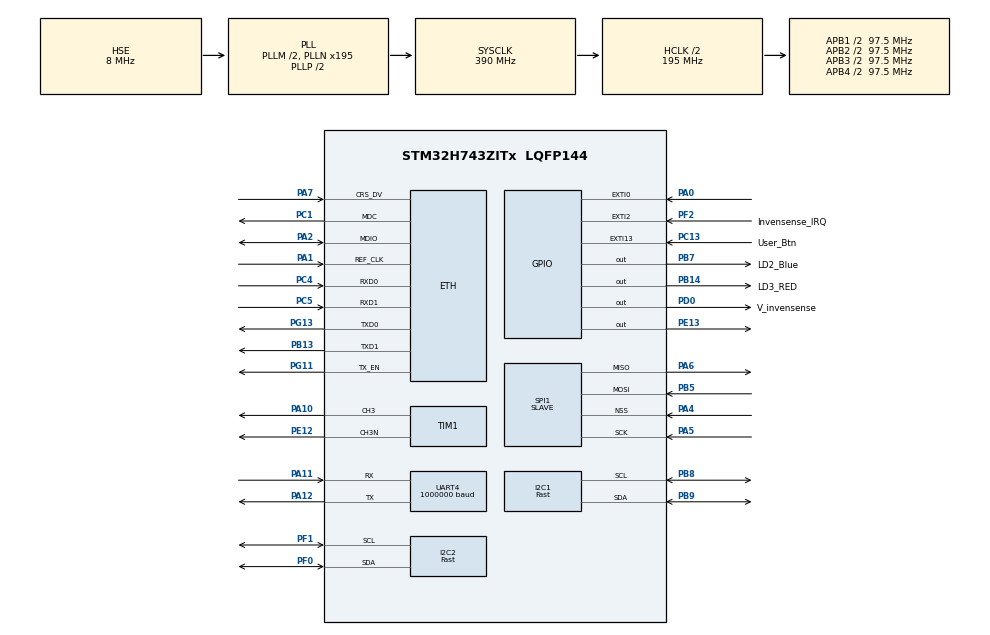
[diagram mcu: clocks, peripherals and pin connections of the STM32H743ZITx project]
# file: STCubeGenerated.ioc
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CORTEX_M7.AccessPermission-Cortex_Memory_Protection_Unit_Region0_Settings=MPU_REGION_FULL_ACCESS
CORTEX_M7.AccessPermission-Cortex_Memory_Protection_Unit_Region1_Settings=MPU_REGION_FULL_ACCESS
CORTEX_M7.BaseAddress-Cortex_Memory_Protection_Unit_Region0_Settings=0x30040000
CORTEX_M7.BaseAddress-Cortex_Memory_Protection_Unit_Region1_Settings=0x30060000
CORTEX_M7.CPU_DCache=Enabled
CORTEX_M7.CPU_ICache=Enabled
CORTEX_M7.Enable-Cortex_Memory_Protection_Unit_Region0_Settings=MPU_REGION_ENABLE
CORTEX_M7.Enable-Cortex_Memory_Protection_Unit_Region1_Settings=MPU_REGION_ENABLE
CORTEX_M7.IsBufferable-Cortex_Memory_Protection_Unit_Region0_Settings=MPU_ACCESS_BUFFERABLE
CORTEX_M7.IsBufferable-Cortex_Memory_Protection_Unit_Region1_Settings=MPU_ACCESS_BUFFERABLE
CORTEX_M7.IsShareable-Cortex_Memory_Protection_Unit_Region0_Settings=MPU_ACCESS_SHAREABLE
CORTEX_M7.IsShareable-Cortex_Memory_Protection_Unit_Region1_Settings=MPU_ACCESS_SHAREABLE
CORTEX_M7.MPU_Control=MPU_PRIVILEGED_DEFAULT
CORTEX_M7.Size-Cortex_Memory_Protection_Unit_Region0_Settings=MPU_REGION_SIZE_256B
CORTEX_M7.Size-Cortex_Memory_Protection_Unit_Region1_Settings=MPU_REGION_SIZE_128KB
Dma.I2C1_RX.2.Direction=DMA_PERIPH_TO_MEMORY
Dma.I2C1_RX.2.EventEnable=DISABLE
Dma.I2C1_RX.2.FIFOMode=DMA_FIFOMODE_DISABLE
Dma.I2C1_RX.2.Instance=DMA2_Stream1
Dma.I2C1_RX.2.MemDataAlignment=DMA_MDATAALIGN_BYTE
Dma.I2C1_RX.2.MemInc=DMA_MINC_ENABLE
Dma.I2C1_RX.2.Mode=DMA_NORMAL
Dma.I2C1_RX.2.PeriphDataAlignment=DMA_PDATAALIGN_BYTE
Dma.I2C1_RX.2.PeriphInc=DMA_PINC_DISABLE
Dma.I2C1_RX.2.Polarity=HAL_DMAMUX_REQ_GEN_RISING
Dma.I2C1_RX.2.Priority=DMA_PRIORITY_MEDIUM
Dma.I2C1_RX.2.RequestNumber=1
Dma.I2C1_RX.2.SignalID=HAL_DMAMUX1_REQ_GEN_EXTI0
Dma.I2C1_RX.2.SyncEnable=DISABLE
Dma.I2C1_RX.2.SyncPolarity=HAL_DMAMUX_SYNC_NO_EVENT
Dma.I2C1_RX.2.SyncRequestNumber=1
Dma.I2C1_RX.2.SyncSignalID=HAL_DMAMUX1_SYNC_EXTI0
Dma.I2C1_TX.3.Direction=DMA_MEMORY_TO_PERIPH
Dma.I2C1_TX.3.EventEnable=DISABLE
Dma.I2C1_TX.3.FIFOMode=DMA_FIFOMODE_DISABLE
Dma.I2C1_TX.3.Instance=DMA2_Stream0
Dma.I2C1_TX.3.MemDataAlignment=DMA_MDATAALIGN_BYTE
Dma.I2C1_TX.3.MemInc=DMA_MINC_ENABLE
Dma.I2C1_TX.3.Mode=DMA_NORMAL
Dma.I2C1_TX.3.PeriphDataAlignment=DMA_PDATAALIGN_BYTE
Dma.I2C1_TX.3.PeriphInc=DMA_PINC_DISABLE
Dma.I2C1_TX.3.Polarity=HAL_DMAMUX_REQ_GEN_RISING
Dma.I2C1_TX.3.Priority=DMA_PRIORITY_MEDIUM
Dma.I2C1_TX.3.RequestNumber=1
Dma.I2C1_TX.3.SignalID=HAL_DMAMUX1_REQ_GEN_EXTI0
Dma.I2C1_TX.3.SyncEnable=DISABLE
Dma.I2C1_TX.3.SyncPolarity=HAL_DMAMUX_SYNC_NO_EVENT
Dma.I2C1_TX.3.SyncRequestNumber=1
Dma.I2C1_TX.3.SyncSignalID=HAL_DMAMUX1_SYNC_EXTI0
Dma.I2C2_RX.5.Direction=DMA_PERIPH_TO_MEMORY
Dma.I2C2_RX.5.EventEnable=DISABLE
Dma.I2C2_RX.5.FIFOMode=DMA_FIFOMODE_DISABLE
Dma.I2C2_RX.5.Instance=DMA1_Stream6
Dma.I2C2_RX.5.MemDataAlignment=DMA_MDATAALIGN_BYTE
Dma.I2C2_RX.5.MemInc=DMA_MINC_ENABLE
Dma.I2C2_RX.5.Mode=DMA_NORMAL
Dma.I2C2_RX.5.PeriphDataAlignment=DMA_PDATAALIGN_BYTE
Dma.I2C2_RX.5.PeriphInc=DMA_PINC_DISABLE
Dma.I2C2_RX.5.Polarity=HAL_DMAMUX_REQ_GEN_RISING
Dma.I2C2_RX.5.Priority=DMA_PRIORITY_MEDIUM
Dma.I2C2_RX.5.RequestNumber=1
Dma.I2C2_RX.5.SignalID=HAL_DMAMUX1_REQ_GEN_EXTI0
Dma.I2C2_RX.5.SyncEnable=DISABLE
Dma.I2C2_RX.5.SyncPolarity=HAL_DMAMUX_SYNC_NO_EVENT
Dma.I2C2_RX.5.SyncRequestNumber=1
Dma.I2C2_RX.5.SyncSignalID=HAL_DMAMUX1_SYNC_EXTI0
Dma.I2C2_TX.6.Direction=DMA_MEMORY_TO_PERIPH
Dma.I2C2_TX.6.EventEnable=DISABLE
Dma.I2C2_TX.6.FIFOMode=DMA_FIFOMODE_DISABLE
Dma.I2C2_TX.6.Instance=DMA1_Stream7
Dma.I2C2_TX.6.MemDataAlignment=DMA_MDATAALIGN_BYTE
Dma.I2C2_TX.6.MemInc=DMA_MINC_ENABLE
Dma.I2C2_TX.6.Mode=DMA_NORMAL
Dma.I2C2_TX.6.PeriphDataAlignment=DMA_PDATAALIGN_BYTE
Dma.I2C2_TX.6.PeriphInc=DMA_PINC_DISABLE
Dma.I2C2_TX.6.Polarity=HAL_DMAMUX_REQ_GEN_RISING
Dma.I2C2_TX.6.Priority=DMA_PRIORITY_MEDIUM
Dma.I2C2_TX.6.RequestNumber=1
Dma.I2C2_TX.6.SignalID=HAL_DMAMUX1_REQ_GEN_EXTI0
Dma.I2C2_TX.6.SyncEnable=DISABLE
Dma.I2C2_TX.6.SyncPolarity=HAL_DMAMUX_SYNC_NO_EVENT
Dma.I2C2_TX.6.SyncRequestNumber=1
Dma.I2C2_TX.6.SyncSignalID=HAL_DMAMUX1_SYNC_EXTI0
Dma.Request0=UART4_RX
Dma.Request1=UART4_TX
Dma.Request2=I2C1_RX
Dma.Request3=I2C1_TX
Dma.Request4=TIM1_CH3
Dma.Request5=I2C2_RX
Dma.Request6=I2C2_TX
Dma.Request7=SPI1_RX
Dma.Request8=SPI1_TX
Dma.SPI1_RX.7.Direction=DMA_PERIPH_TO_MEMORY
Dma.SPI1_RX.7.EventEnable=DISABLE
Dma.SPI1_RX.7.FIFOMode=DMA_FIFOMODE_ENABLE
Dma.SPI1_RX.7.FIFOThreshold=DMA_FIFO_THRESHOLD_FULL
Dma.SPI1_RX.7.Instance=DMA1_Stream2
Dma.SPI1_RX.7.MemBurst=DMA_MBURST_SINGLE
Dma.SPI1_RX.7.MemDataAlignment=DMA_MDATAALIGN_HALFWORD
Dma.SPI1_RX.7.MemInc=DMA_MINC_ENABLE
Dma.SPI1_RX.7.Mode=DMA_NORMAL
Dma.SPI1_RX.7.PeriphBurst=DMA_PBURST_SINGLE
Dma.SPI1_RX.7.PeriphDataAlignment=DMA_PDATAALIGN_HALFWORD
Dma.SPI1_RX.7.PeriphInc=DMA_PINC_DISABLE
Dma.SPI1_RX.7.Polarity=HAL_DMAMUX_REQ_GEN_RISING
Dma.SPI1_RX.7.Priority=DMA_PRIORITY_HIGH
Dma.SPI1_RX.7.RequestNumber=1
Dma.SPI1_RX.7.SignalID=HAL_DMAMUX1_REQ_GEN_EXTI0
Dma.SPI1_RX.7.SyncEnable=DISABLE
Dma.SPI1_RX.7.SyncPolarity=HAL_DMAMUX_SYNC_NO_EVENT
Dma.SPI1_RX.7.SyncRequestNumber=1
Dma.SPI1_RX.7.SyncSignalID=HAL_DMAMUX1_SYNC_EXTI0
Dma.SPI1_TX.8.Direction=DMA_MEMORY_TO_PERIPH
Dma.SPI1_TX.8.EventEnable=DISABLE
Dma.SPI1_TX.8.FIFOMode=DMA_FIFOMODE_ENABLE
Dma.SPI1_TX.8.FIFOThreshold=DMA_FIFO_THRESHOLD_FULL
Dma.SPI1_TX.8.Instance=DMA1_Stream3
Dma.SPI1_TX.8.MemBurst=DMA_MBURST_SINGLE
Dma.SPI1_TX.8.MemDataAlignment=DMA_MDATAALIGN_HALFWORD
Dma.SPI1_TX.8.MemInc=DMA_MINC_ENABLE
Dma.SPI1_TX.8.Mode=DMA_NORMAL
Dma.SPI1_TX.8.PeriphBurst=DMA_PBURST_SINGLE
Dma.SPI1_TX.8.PeriphDataAlignment=DMA_PDATAALIGN_HALFWORD
Dma.SPI1_TX.8.PeriphInc=DMA_PINC_DISABLE
Dma.SPI1_TX.8.Polarity=HAL_DMAMUX_REQ_GEN_RISING
Dma.SPI1_TX.8.Priority=DMA_PRIORITY_HIGH
Dma.SPI1_TX.8.RequestNumber=1
Dma.SPI1_TX.8.SignalID=HAL_DMAMUX1_REQ_GEN_EXTI0
Dma.SPI1_TX.8.SyncEnable=DISABLE
Dma.SPI1_TX.8.SyncPolarity=HAL_DMAMUX_SYNC_NO_EVENT
Dma.SPI1_TX.8.SyncRequestNumber=1
Dma.SPI1_TX.8.SyncSignalID=HAL_DMAMUX1_SYNC_EXTI0
Dma.TIM1_CH3.4.Direction=DMA_MEMORY_TO_PERIPH
Dma.TIM1_CH3.4.EventEnable=DISABLE
Dma.TIM1_CH3.4.FIFOMode=DMA_FIFOMODE_DISABLE
Dma.TIM1_CH3.4.Instance=DMA1_Stream0
Dma.TIM1_CH3.4.MemDataAlignment=DMA_MDATAALIGN_HALFWORD
Dma.TIM1_CH3.4.MemInc=DMA_MINC_ENABLE
Dma.TIM1_CH3.4.Mode=DMA_NORMAL
Dma.TIM1_CH3.4.PeriphDataAlignment=DMA_PDATAALIGN_HALFWORD
Dma.TIM1_CH3.4.PeriphInc=DMA_PINC_DISABLE
Dma.TIM1_CH3.4.Polarity=HAL_DMAMUX_REQ_GEN_RISING
Dma.TIM1_CH3.4.Priority=DMA_PRIORITY_VERY_HIGH
Dma.TIM1_CH3.4.RequestNumber=1
Dma.TIM1_CH3.4.SignalID=HAL_DMAMUX1_REQ_GEN_EXTI0
Dma.TIM1_CH3.4.SyncEnable=DISABLE
Dma.TIM1_CH3.4.SyncPolarity=HAL_DMAMUX_SYNC_NO_EVENT
Dma.TIM1_CH3.4.SyncRequestNumber=1
Dma.TIM1_CH3.4.SyncSignalID=HAL_DMAMUX1_SYNC_EXTI0
Dma.UART4_RX.0.Direction=DMA_PERIPH_TO_MEMORY
Dma.UART4_RX.0.EventEnable=DISABLE
Dma.UART4_RX.0.FIFOMode=DMA_FIFOMODE_DISABLE
Dma.UART4_RX.0.Instance=DMA1_Stream4
Dma.UART4_RX.0.MemDataAlignment=DMA_MDATAALIGN_BYTE
Dma.UART4_RX.0.MemInc=DMA_MINC_ENABLE
Dma.UART4_RX.0.Mode=DMA_NORMAL
Dma.UART4_RX.0.PeriphDataAlignment=DMA_PDATAALIGN_BYTE
Dma.UART4_RX.0.PeriphInc=DMA_PINC_DISABLE
Dma.UART4_RX.0.Polarity=HAL_DMAMUX_REQ_GEN_RISING
Dma.UART4_RX.0.Priority=DMA_PRIORITY_MEDIUM
Dma.UART4_RX.0.RequestNumber=1
Dma.UART4_RX.0.SignalID=HAL_DMAMUX1_REQ_GEN_EXTI0
Dma.UART4_RX.0.SyncEnable=DISABLE
Dma.UART4_RX.0.SyncPolarity=HAL_DMAMUX_SYNC_NO_EVENT
Dma.UART4_RX.0.SyncRequestNumber=1
Dma.UART4_RX.0.SyncSignalID=HAL_DMAMUX1_SYNC_EXTI0
Dma.UART4_TX.1.Direction=DMA_MEMORY_TO_PERIPH
Dma.UART4_TX.1.EventEnable=DISABLE
Dma.UART4_TX.1.FIFOMode=DMA_FIFOMODE_DISABLE
Dma.UART4_TX.1.Instance=DMA1_Stream5
Dma.UART4_TX.1.MemDataAlignment=DMA_MDATAALIGN_BYTE
Dma.UART4_TX.1.MemInc=DMA_MINC_ENABLE
Dma.UART4_TX.1.Mode=DMA_NORMAL
Dma.UART4_TX.1.PeriphDataAlignment=DMA_PDATAALIGN_BYTE
Dma.UART4_TX.1.PeriphInc=DMA_PINC_DISABLE
Dma.UART4_TX.1.Polarity=HAL_DMAMUX_REQ_GEN_RISING
Dma.UART4_TX.1.Priority=DMA_PRIORITY_MEDIUM
Dma.UART4_TX.1.RequestNumber=1
Dma.UART4_TX.1.SignalID=HAL_DMAMUX1_REQ_GEN_EXTI0
Dma.UART4_TX.1.SyncEnable=DISABLE
Dma.UART4_TX.1.SyncPolarity=HAL_DMAMUX_SYNC_NO_EVENT
Dma.UART4_TX.1.SyncRequestNumber=1
Dma.UART4_TX.1.SyncSignalID=HAL_DMAMUX1_SYNC_EXTI0
ETH.MediaInterface=HAL_ETH_RMII_MODE
I2C1.I2C_Speed_Mode=I2C_Fast
I2C1.Timing=0x009033B1
I2C2.I2C_Speed_Mode=I2C_Fast
I2C2.Timing=0x009033B1
Mcu.Family=STM32H7
Mcu.Name=STM32H743ZITx
Mcu.Package=LQFP144
NVIC.DMA1_Stream0_IRQn=true\:0\:0\:true\:false\:true\:false
NVIC.DMA1_Stream2_IRQn=true\:0\:0\:true\:false\:true\:false
NVIC.DMA1_Stream3_IRQn=true\:0\:0\:true\:false\:true\:false
NVIC.DMA1_Stream4_IRQn=true\:0\:0\:true\:false\:true\:false
NVIC.DMA1_Stream5_IRQn=true\:0\:0\:true\:false\:true\:false
NVIC.DMA1_Stream6_IRQn=true\:0\:0\:true\:false\:true\:false
NVIC.DMA1_Stream7_IRQn=true\:2\:0\:true\:false\:true\:false
NVIC.DMA2_Stream0_IRQn=true\:1\:0\:true\:false\:true\:false
NVIC.DMA2_Stream1_IRQn=true\:1\:0\:true\:false\:true\:false
NVIC.ETH_IRQn=true\:3\:0\:true\:false\:true\:true
NVIC.ETH_WKUP_IRQn=true\:3\:0\:true\:false\:true\:true
NVIC.EXTI0_IRQn=true\:0\:0\:false\:false\:false\:true
NVIC.I2C1_ER_IRQn=true\:2\:0\:true\:false\:true\:true
NVIC.I2C1_EV_IRQn=true\:2\:0\:true\:false\:true\:true
NVIC.I2C2_ER_IRQn=true\:2\:0\:true\:false\:true\:true
NVIC.I2C2_EV_IRQn=true\:2\:0\:true\:false\:true\:true
NVIC.PriorityGroup=NVIC_PRIORITYGROUP_4
NVIC.SPI1_IRQn=true\:2\:0\:true\:false\:true\:true
NVIC.TIM1_BRK_IRQn=true\:2\:0\:true\:false\:true\:true
NVIC.TIM1_CC_IRQn=true\:2\:0\:true\:false\:true\:true
NVIC.TIM1_TRG_COM_IRQn=true\:2\:0\:true\:false\:true\:true
NVIC.TIM1_UP_IRQn=true\:2\:0\:true\:false\:true\:true
NVIC.TIM8_UP_TIM13_IRQn=true\:2\:0\:true\:false\:true\:false
NVIC.TimeBase=TIM8_UP_TIM13_IRQn
NVIC.TimeBaseIP=TIM8
NVIC.UART4_IRQn=true\:2\:0\:true\:false\:true\:true
PA0-WKUP.GPIO_ModeDefaultEXTI=GPIO_MODE_IT_RISING_FALLING
PA0-WKUP.GPIO_PuPd=GPIO_PULLDOWN
PA0-WKUP.Signal=GPXTI0
PA1.GPIO_Speed=GPIO_SPEED_FREQ_VERY_HIGH
PA1.Mode=RMII
PA1.Signal=ETH_REF_CLK
PA10.GPIO_Speed=GPIO_SPEED_FREQ_VERY_HIGH
PA10.Signal=S_TIM1_CH3
PA11.GPIO_Speed=GPIO_SPEED_FREQ_VERY_HIGH
PA11.Mode=Asynchronous
PA11.Signal=UART4_RX
PA12.GPIO_Speed=GPIO_SPEED_FREQ_VERY_HIGH
PA12.Mode=Asynchronous
PA12.Signal=UART4_TX
PA13.Mode=Trace_Asynchronous_SW
PA13.Signal=SYS_JTMS-SWDIO
PA14.Mode=Trace_Asynchronous_SW
PA14.Signal=SYS_JTCK-SWCLK
PA2.GPIO_Speed=GPIO_SPEED_FREQ_VERY_HIGH
PA2.Mode=RMII
PA2.Signal=ETH_MDIO
PA4.GPIO_Speed=GPIO_SPEED_FREQ_VERY_HIGH
PA4.Mode=NSS_Signal_Hard_Input
PA4.Signal=SPI1_NSS
PA5.GPIO_Speed=GPIO_SPEED_FREQ_VERY_HIGH
PA5.Mode=Full_Duplex_Slave
PA5.Signal=SPI1_SCK
PA6.GPIO_Speed=GPIO_SPEED_FREQ_VERY_HIGH
PA6.Mode=Full_Duplex_Slave
PA6.Signal=SPI1_MISO
PA7.GPIO_Speed=GPIO_SPEED_FREQ_VERY_HIGH
PA7.Mode=RMII
PA7.Signal=ETH_CRS_DV
PB13.GPIO_Speed=GPIO_SPEED_FREQ_VERY_HIGH
PB13.Mode=RMII
PB13.Signal=ETH_TXD1
PB14.GPIO_Label=LD3_RED
PB14.GPIO_Speed=GPIO_SPEED_FREQ_VERY_HIGH
PB14.Signal=GPIO_Output
PB3.Mode=Trace_Asynchronous_SW
PB3.Signal=SYS_JTDO-SWO
PB5.GPIO_Speed=GPIO_SPEED_FREQ_VERY_HIGH
PB5.Mode=Full_Duplex_Slave
PB5.Signal=SPI1_MOSI
PB7.GPIO_Label=LD2_Blue
PB7.GPIO_Speed=GPIO_SPEED_FREQ_VERY_HIGH
PB7.Signal=GPIO_Output
PB8.Mode=I2C
PB8.Signal=I2C1_SCL
PB9.Mode=I2C
PB9.Signal=I2C1_SDA
PC1.Mode=RMII
PC1.Signal=ETH_MDC
PC13.GPIO_Label=User_Btn
PC13.Signal=GPXTI13
PC4.GPIO_Speed=GPIO_SPEED_FREQ_VERY_HIGH
PC4.Mode=RMII
PC4.Signal=ETH_RXD0
PC5.GPIO_Speed=GPIO_SPEED_FREQ_VERY_HIGH
PC5.Mode=RMII
PC5.Signal=ETH_RXD1
PD0.GPIO_Label=V_invensense
PD0.Signal=GPIO_Output
PE12.GPIO_Speed=GPIO_SPEED_FREQ_VERY_HIGH
PE12.Mode=PWM Generation3 CH3 CH3N
PE12.Signal=TIM1_CH3N
PE13.Signal=GPIO_Output
PF0.GPIO_Speed=GPIO_SPEED_FREQ_VERY_HIGH
PF0.Mode=I2C
PF0.Signal=I2C2_SDA
PF1.GPIO_Speed=GPIO_SPEED_FREQ_VERY_HIGH
PF1.Mode=I2C
PF1.Signal=I2C2_SCL
PF2.GPIO_Label=Invensense_IRQ
PF2.Signal=GPXTI2
PG11.GPIO_Speed=GPIO_SPEED_FREQ_VERY_HIGH
PG11.Mode=RMII
PG11.Signal=ETH_TX_EN
PG13.GPIO_Speed=GPIO_SPEED_FREQ_VERY_HIGH
PG13.Mode=RMII
PG13.Signal=ETH_TXD0
PH0-OSC_IN.Mode=HSE-External-Clock-Source
PH0-OSC_IN.Signal=RCC_OSC_IN
PH1-OSC_OUT.Mode=HSE-External-Clock-Source
PH1-OSC_OUT.Signal=RCC_OSC_OUT
ProjectManager.HeapSize=0x200
ProjectManager.StackSize=0x400
ProjectManager.TargetToolchain=MDK-ARM V5
RCC.ADCFreq_Value=380000000
RCC.APB1Freq_Value=97500000
RCC.APB2Freq_Value=97500000
RCC.APB3Freq_Value=97500000
RCC.APB4Freq_Value=97500000
RCC.CortexFreq_Value=390000000
RCC.D1PPRE=RCC_APB3_DIV2
RCC.D2PPRE1=RCC_APB1_DIV2
RCC.D2PPRE2=RCC_APB2_DIV2
RCC.D3PPRE=RCC_APB4_DIV2
RCC.DIVM1=2
RCC.DIVM2=2
RCC.DIVN1=195
RCC.DIVN2=190
RCC.FLatency=FLASH_LATENCY_2
RCC.HCLKFreq_Value=195000000
RCC.HPRE=RCC_HCLK_DIV2
RCC.HSE_VALUE=8000000
RCC.PLLSourceVirtual=RCC_PLLSOURCE_HSE
RCC.RCC_RTC_Clock_Source_FROM_HSE=RCC_RTCCLKSOURCE_HSE_DIV8
RCC.RTCClockSelection=RCC_RTCCLKSOURCE_HSE_DIV8
RCC.SPI123CLockSelection=RCC_SPI123CLKSOURCE_PLL2
RCC.SYSCLKFreq_VALUE=390000000
RCC.SYSCLKSource=RCC_SYSCLKSOURCE_PLLCLK
RCC.USBFreq_Value=390000000
RCC.VDD_VALUE=3.3
RTC.AsynchPrediv=99
RTC.HourFormat=RTC_HOURFORMAT_24
RTC.StoreOperation=RTC_STOREOPERATION_SET
RTC.SynchPrediv=9999
SH.S_TIM1_CH3.0=TIM1_CH3,PWM Generation3 CH3 CH3N
SPI1.DataSize=SPI_DATASIZE_16BIT
SPI1.Direction=SPI_DIRECTION_2LINES
SPI1.Mode=SPI_MODE_SLAVE
SPI1.VirtualNSS=VM_NSSHARD
SPI1.VirtualType=VM_SLAVE
TIM1.AutomaticOutput=TIM_AUTOMATICOUTPUT_ENABLE
TIM1.Channel-PWM\ Generation3\ CH3\ CH3N=TIM_CHANNEL_3
TIM1.DeadTime=3
UART4.BaudRate=1000000
UART4.FIFOMode=FIFOMODE_ENABLE
UART4.OverSampling=UART_OVERSAMPLING_16
UART4.SwapParam=UART_ADVFEATURE_SWAP_ENABLE
UART4.WordLength=WORDLENGTH_8B
VP_RTC_VS_RTC_Activate.Mode=RTC_Enabled
VP_RTC_VS_RTC_Calendar.Mode=RTC_Calendar
VP_SYS_VS_tim8.Mode=TIM8
board=STCubeGenerated

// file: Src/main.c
/**
  ******************************************************************************
  * @file           : main.c
  * @brief          : Main program body
  ******************************************************************************
  ** This notice applies to any and all portions of this file
  * that are not between comment pairs USER CODE BEGIN and
  * USER CODE END. Other portions of this file, whether
  * inserted by the user or by software development tools
  * are owned by their respective copyright owners.
  *
  * COPYRIGHT(c) 2018 STMicroelectronics
  *
  * Redistribution and use in source and binary forms, with or without modification,
  * are permitted provided that the following conditions are met:
  *   1. Redistributions of source code must retain the above copyright notice,
  *      this list of conditions and the following disclaimer.
  *   2. Redistributions in binary form must reproduce the above copyright notice,
  *      this list of conditions and the following disclaimer in the documentation
  *      and/or other materials provided with the distribution.
  *   3. Neither the name of STMicroelectronics nor the names of its contributors
  *      may be used to endorse or promote products derived from this software
  *      without specific prior written permission.
  *
  * THIS SOFTWARE IS PROVIDED BY THE COPYRIGHT HOLDERS AND CONTRIBUTORS "AS IS"
  * AND ANY EXPRESS OR IMPLIED WARRANTIES, INCLUDING, BUT NOT LIMITED TO, THE
  * IMPLIED WARRANTIES OF MERCHANTABILITY AND FITNESS FOR A PARTICULAR PURPOSE ARE
  * DISCLAIMED. IN NO EVENT SHALL THE COPYRIGHT HOLDER OR CONTRIBUTORS BE LIABLE
  * FOR ANY DIRECT, INDIRECT, INCIDENTAL, SPECIAL, EXEMPLARY, OR CONSEQUENTIAL
  * DAMAGES (INCLUDING, BUT NOT LIMITED TO, PROCUREMENT OF SUBSTITUTE GOODS OR
  * SERVICES; LOSS OF USE, DATA, OR PROFITS; OR BUSINESS INTERRUPTION) HOWEVER
  * CAUSED AND ON ANY THEORY OF LIABILITY, WHETHER IN CONTRACT, STRICT LIABILITY,
  * OR TORT (INCLUDING NEGLIGENCE OR OTHERWISE) ARISING IN ANY WAY OUT OF THE USE
  * OF THIS SOFTWARE, EVEN IF ADVISED OF THE POSSIBILITY OF SUCH DAMAGE.
  *
  ******************************************************************************
  */
#include "main.h"
#include "stm32h7xx_hal.h"
#include "string.h"

/* USER CODE BEGIN Includes */
#include "cmsis_os2.h"                  // ::CMSIS:RTOS2

/* USER CODE END Includes */

#if defined ( __ICCARM__ ) /*!< IAR Compiler */

#pragma location=0x30040000
ETH_DMADescTypeDef  DMARxDscrTab[ETH_RX_DESC_CNT]; /* Ethernet Rx DMA Descriptors */
#pragma location=0x30040060
ETH_DMADescTypeDef  DMATxDscrTab[ETH_TX_DESC_CNT]; /* Ethernet Tx DMA Descriptors */
#pragma location=0x30040200
uint8_t Rx_Buff[ETH_RX_DESC_CNT][ETH_MAX_PACKET_SIZE]; /* Ethernet Receive Buffers */

#elif defined ( __CC_ARM )  /* MDK ARM Compiler */

__attribute__((at(0x30040000))) ETH_DMADescTypeDef  DMARxDscrTab[ETH_RX_DESC_CNT]; /* Ethernet Rx DMA Descriptors */
__attribute__((at(0x30040060))) ETH_DMADescTypeDef  DMATxDscrTab[ETH_TX_DESC_CNT]; /* Ethernet Tx DMA Descriptors */
__attribute__((at(0x30040200))) uint8_t Rx_Buff[ETH_RX_DESC_CNT][ETH_MAX_PACKET_SIZE]; /* Ethernet Receive Buffer */

#elif defined ( __GNUC__ ) /* GNU Compiler */

ETH_DMADescTypeDef DMARxDscrTab[ETH_RX_DESC_CNT] __attribute__((section(".RxDecripSection"))); /* Ethernet Rx DMA Descriptors */
ETH_DMADescTypeDef DMATxDscrTab[ETH_TX_DESC_CNT] __attribute__((section(".TxDecripSection")));   /* Ethernet Tx DMA Descriptors */
uint8_t Rx_Buff[ETH_RX_DESC_CNT][ETH_MAX_PACKET_SIZE] __attribute__((section(".RxArraySection"))); /* Ethernet Receive Buffers */

#endif

ETH_TxPacketConfig TxConfig;

ETH_HandleTypeDef heth;

I2C_HandleTypeDef hi2c1;
I2C_HandleTypeDef hi2c2;
DMA_HandleTypeDef hdma_i2c1_rx;
DMA_HandleTypeDef hdma_i2c1_tx;
DMA_HandleTypeDef hdma_i2c2_rx;
DMA_HandleTypeDef hdma_i2c2_tx;

RTC_HandleTypeDef hrtc;

SPI_HandleTypeDef hspi1;
DMA_HandleTypeDef hdma_spi1_rx;
DMA_HandleTypeDef hdma_spi1_tx;

TIM_HandleTypeDef htim1;
DMA_HandleTypeDef hdma_tim1_ch3;

UART_HandleTypeDef huart4;
DMA_HandleTypeDef hdma_uart4_rx;
DMA_HandleTypeDef hdma_uart4_tx;

/* USER CODE BEGIN PV */
#if defined ( __ARMCC_VERSION)  /* MDK ARM Compiler */
ETH_DMADescTypeDef  DMARxDscrTab[ETH_RX_DESC_CNT] 		__attribute__((section(".ARM.__at_0x30040000"))); /* Ethernet Rx DMA Descriptors */
ETH_DMADescTypeDef  DMATxDscrTab[ETH_TX_DESC_CNT] 		__attribute__((section(".ARM.__at_0x30040060"))); /* Ethernet Tx DMA Descriptors */
uint8_t Rx_Buff[ETH_RX_DESC_CNT][ETH_MAX_PACKET_SIZE] __attribute__((section(".ARM.__at_0x30040200"))) ; /* Ethernet Receive Buffer */
#endif

/* Private variables ---------------------------------------------------------*/
extern osThreadId_t tid_Thread;                                      // thread id
void Thread (void *argument);                                 // thread function
/* USER CODE END PV */

void SystemClock_Config(void);
static void MPU_Config(void);
static void MX_GPIO_Init(void);
static void MX_DMA_Init(void);
static void MX_ETH_Init(void);
static void MX_SPI1_Init(void);
static void MX_UART4_Init(void);
static void MX_I2C2_Init(void);
static void MX_TIM1_Init(void);
static void MX_I2C1_Init(void);
static void MX_RTC_Init(void);

void HAL_TIM_MspPostInit(TIM_HandleTypeDef *htim);

/* USER CODE BEGIN PFP */
/* Private function prototypes -----------------------------------------------*/

/* USER CODE END PFP */

int main(void)
{
  /* USER CODE BEGIN 1 */
	osThreadAttr_t worker_attr;
  /* USER CODE END 1 */

  /* MPU Configuration----------------------------------------------------------*/
  MPU_Config();

  /* Enable I-Cache-------------------------------------------------------------*/
  SCB_EnableICache();

  /* Enable D-Cache-------------------------------------------------------------*/
  SCB_EnableDCache();

  /* MCU Configuration----------------------------------------------------------*/

  /* Reset of all peripherals, Initializes the Flash interface and the Systick. */
  HAL_Init();

  /* USER CODE BEGIN Init */
    SCB_DisableDCache();
  /* USER CODE END Init */

  /* Configure the system clock */
  SystemClock_Config();

  /* USER CODE BEGIN SysInit */
    osKernelInitialize();
	memset(&worker_attr, 0, sizeof(worker_attr));
    worker_attr.stack_size = 2000;
	tid_Thread = osThreadNew (Thread, NULL, &worker_attr);
  /* USER CODE END SysInit */

  /* Initialize all configured peripherals */
  MX_GPIO_Init();
  MX_DMA_Init();
  MX_ETH_Init();
  MX_SPI1_Init();
  MX_UART4_Init();
  MX_I2C2_Init();
  MX_TIM1_Init();
  MX_I2C1_Init();
  MX_RTC_Init();
  /* USER CODE BEGIN 2 */

  if (osKernelGetState() == osKernelReady){
    osKernelStart();
  }
  /* USER CODE END 2 */

  /* Infinite loop */
  while (1)
  {

  }

}

void SystemClock_Config(void)
{

  RCC_OscInitTypeDef RCC_OscInitStruct;
  RCC_ClkInitTypeDef RCC_ClkInitStruct;
  RCC_PeriphCLKInitTypeDef PeriphClkInitStruct;

    /**Supply configuration update enable
    */
  MODIFY_REG(PWR->CR3, PWR_CR3_SCUEN, 0);

    /**Configure the main internal regulator output voltage
    */
  __HAL_PWR_VOLTAGESCALING_CONFIG(PWR_REGULATOR_VOLTAGE_SCALE1);

  while ((PWR->D3CR & (PWR_D3CR_VOSRDY)) != PWR_D3CR_VOSRDY)
  {

  }
    /**Macro to configure the PLL clock source
    */
  __HAL_RCC_PLL_PLLSOURCE_CONFIG(RCC_PLLSOURCE_HSE);

    /**Initializes the CPU, AHB and APB busses clocks
    */
  RCC_OscInitStruct.OscillatorType = RCC_OSCILLATORTYPE_HSE;
  RCC_OscInitStruct.HSEState = RCC_HSE_BYPASS;
  RCC_OscInitStruct.PLL.PLLState = RCC_PLL_ON;
  RCC_OscInitStruct.PLL.PLLSource = RCC_PLLSOURCE_HSE;
  RCC_OscInitStruct.PLL.PLLM = 2;
  RCC_OscInitStruct.PLL.PLLN = 195;
  RCC_OscInitStruct.PLL.PLLP = 2;
  RCC_OscInitStruct.PLL.PLLQ = 2;
  RCC_OscInitStruct.PLL.PLLR = 2;
  RCC_OscInitStruct.PLL.PLLRGE = RCC_PLL1VCIRANGE_2;
  RCC_OscInitStruct.PLL.PLLVCOSEL = RCC_PLL1VCOWIDE;
  RCC_OscInitStruct.PLL.PLLFRACN = 0;
  if (HAL_RCC_OscConfig(&RCC_OscInitStruct) != HAL_OK)
  {
    _Error_Handler(__FILE__, __LINE__);
  }

    /**Initializes the CPU, AHB and APB busses clocks
    */
  RCC_ClkInitStruct.ClockType = RCC_CLOCKTYPE_HCLK|RCC_CLOCKTYPE_SYSCLK
                              |RCC_CLOCKTYPE_PCLK1|RCC_CLOCKTYPE_PCLK2
                              |RCC_CLOCKTYPE_D3PCLK1|RCC_CLOCKTYPE_D1PCLK1;
  RCC_ClkInitStruct.SYSCLKSource = RCC_SYSCLKSOURCE_PLLCLK;
  RCC_ClkInitStruct.SYSCLKDivider = RCC_SYSCLK_DIV1;
  RCC_ClkInitStruct.AHBCLKDivider = RCC_HCLK_DIV2;
  RCC_ClkInitStruct.APB3CLKDivider = RCC_APB3_DIV2;
  RCC_ClkInitStruct.APB1CLKDivider = RCC_APB1_DIV2;
  RCC_ClkInitStruct.APB2CLKDivider = RCC_APB2_DIV2;
  RCC_ClkInitStruct.APB4CLKDivider = RCC_APB4_DIV2;

  if (HAL_RCC_ClockConfig(&RCC_ClkInitStruct, FLASH_LATENCY_2) != HAL_OK)
  {
    _Error_Handler(__FILE__, __LINE__);
  }

  PeriphClkInitStruct.PeriphClockSelection = RCC_PERIPHCLK_RTC|RCC_PERIPHCLK_UART4
                              |RCC_PERIPHCLK_SPI1|RCC_PERIPHCLK_I2C2
                              |RCC_PERIPHCLK_I2C1;
  PeriphClkInitStruct.PLL2.PLL2M = 2;
  PeriphClkInitStruct.PLL2.PLL2N = 190;
  PeriphClkInitStruct.PLL2.PLL2P = 2;
  PeriphClkInitStruct.PLL2.PLL2Q = 2;
  PeriphClkInitStruct.PLL2.PLL2R = 2;
  PeriphClkInitStruct.PLL2.PLL2RGE = RCC_PLL2VCIRANGE_2;
  PeriphClkInitStruct.PLL2.PLL2VCOSEL = RCC_PLL2VCOWIDE;
  PeriphClkInitStruct.PLL2.PLL2FRACN = 0;
  PeriphClkInitStruct.Spi123ClockSelection = RCC_SPI123CLKSOURCE_PLL2;
  PeriphClkInitStruct.Usart234578ClockSelection = RCC_USART234578CLKSOURCE_D2PCLK1;
  PeriphClkInitStruct.I2c123ClockSelection = RCC_I2C123CLKSOURCE_D2PCLK1;
  PeriphClkInitStruct.RTCClockSelection = RCC_RTCCLKSOURCE_HSE_DIV8;
  if (HAL_RCCEx_PeriphCLKConfig(&PeriphClkInitStruct) != HAL_OK)
  {
    _Error_Handler(__FILE__, __LINE__);
  }

    /**Configure the Systick interrupt time
    */
  HAL_SYSTICK_Config(SystemCoreClock/1000);

    /**Configure the Systick
    */
  HAL_SYSTICK_CLKSourceConfig(SYSTICK_CLKSOURCE_HCLK);

  /* SysTick_IRQn interrupt configuration */
  HAL_NVIC_SetPriority(SysTick_IRQn, 15, 0);
}

/* ETH init function */
static void MX_ETH_Init(void)
{

   uint8_t MACAddr[6] ;

  heth.Instance = ETH;
  MACAddr[0] = 0x00;
  MACAddr[1] = 0x80;
  MACAddr[2] = 0xE1;
  MACAddr[3] = 0x00;
  MACAddr[4] = 0x00;
  MACAddr[5] = 0x00;
  heth.Init.MACAddr = &MACAddr[0];
  heth.Init.MediaInterface = HAL_ETH_RMII_MODE;
  heth.Init.TxDesc = DMATxDscrTab;
  heth.Init.RxDesc = DMARxDscrTab;
  heth.Init.RxBuffLen = 1524;

  if (HAL_ETH_Init(&heth) != HAL_OK)
  {
    _Error_Handler(__FILE__, __LINE__);
  }

  memset(&TxConfig, 0 , sizeof(ETH_TxPacketConfig));
  TxConfig.Attributes = ETH_TX_PACKETS_FEATURES_CSUM | ETH_TX_PACKETS_FEATURES_CRCPAD;
  TxConfig.ChecksumCtrl = ETH_CHECKSUM_IPHDR_PAYLOAD_INSERT_PHDR_CALC;
  TxConfig.CRCPadCtrl = ETH_CRC_PAD_INSERT;

}

/* I2C1 init function */
static void MX_I2C1_Init(void)
{

  hi2c1.Instance = I2C1;
  hi2c1.Init.Timing = 0x009033B1;
  hi2c1.Init.OwnAddress1 = 0;
  hi2c1.Init.AddressingMode = I2C_ADDRESSINGMODE_7BIT;
  hi2c1.Init.DualAddressMode = I2C_DUALADDRESS_DISABLE;
  hi2c1.Init.OwnAddress2 = 0;
  hi2c1.Init.OwnAddress2Masks = I2C_OA2_NOMASK;
  hi2c1.Init.GeneralCallMode = I2C_GENERALCALL_DISABLE;
  hi2c1.Init.NoStretchMode = I2C_NOSTRETCH_DISABLE;
  if (HAL_I2C_Init(&hi2c1) != HAL_OK)
  {
    _Error_Handler(__FILE__, __LINE__);
  }

    /**Configure Analogue filter
    */
  if (HAL_I2CEx_ConfigAnalogFilter(&hi2c1, I2C_ANALOGFILTER_ENABLE) != HAL_OK)
  {
    _Error_Handler(__FILE__, __LINE__);
  }

    /**Configure Digital filter
    */
  if (HAL_I2CEx_ConfigDigitalFilter(&hi2c1, 0) != HAL_OK)
  {
    _Error_Handler(__FILE__, __LINE__);
  }

}

/* I2C2 init function */
static void MX_I2C2_Init(void)
{

  hi2c2.Instance = I2C2;
  hi2c2.Init.Timing = 0x009033B1;
  hi2c2.Init.OwnAddress1 = 0;
  hi2c2.Init.AddressingMode = I2C_ADDRESSINGMODE_7BIT;
  hi2c2.Init.DualAddressMode = I2C_DUALADDRESS_DISABLE;
  hi2c2.Init.OwnAddress2 = 0;
  hi2c2.Init.OwnAddress2Masks = I2C_OA2_NOMASK;
  hi2c2.Init.GeneralCallMode = I2C_GENERALCALL_DISABLE;
  hi2c2.Init.NoStretchMode = I2C_NOSTRETCH_DISABLE;
  if (HAL_I2C_Init(&hi2c2) != HAL_OK)
  {
    _Error_Handler(__FILE__, __LINE__);
  }

    /**Configure Analogue filter
    */
  if (HAL_I2CEx_ConfigAnalogFilter(&hi2c2, I2C_ANALOGFILTER_ENABLE) != HAL_OK)
  {
    _Error_Handler(__FILE__, __LINE__);
  }

    /**Configure Digital filter
    */
  if (HAL_I2CEx_ConfigDigitalFilter(&hi2c2, 0) != HAL_OK)
  {
    _Error_Handler(__FILE__, __LINE__);
  }

}

/* RTC init function */
static void MX_RTC_Init(void)
{

  RTC_TimeTypeDef sTime;
  RTC_DateTypeDef sDate;

    /**Initialize RTC Only
    */
  hrtc.Instance = RTC;
  hrtc.Init.HourFormat = RTC_HOURFORMAT_24;
  hrtc.Init.AsynchPrediv = 99;
  hrtc.Init.SynchPrediv = 9999;
  hrtc.Init.OutPut = RTC_OUTPUT_DISABLE;
  hrtc.Init.OutPutPolarity = RTC_OUTPUT_POLARITY_HIGH;
  hrtc.Init.OutPutType = RTC_OUTPUT_TYPE_OPENDRAIN;
  hrtc.Init.OutPutRemap = RTC_OUTPUT_REMAP_NONE;
  if (HAL_RTC_Init(&hrtc) != HAL_OK)
  {
    _Error_Handler(__FILE__, __LINE__);
  }

    /**Initialize RTC and set the Time and Date
    */
  sTime.Hours = 0x0;
  sTime.Minutes = 0x0;
  sTime.Seconds = 0x0;
  sTime.DayLightSaving = RTC_DAYLIGHTSAVING_NONE;
  sTime.StoreOperation = RTC_STOREOPERATION_SET;
  if (HAL_RTC_SetTime(&hrtc, &sTime, RTC_FORMAT_BCD) != HAL_OK)
  {
    _Error_Handler(__FILE__, __LINE__);
  }

  sDate.WeekDay = RTC_WEEKDAY_MONDAY;
  sDate.Month = RTC_MONTH_JANUARY;
  sDate.Date = 0x1;
  sDate.Year = 0x0;

  if (HAL_RTC_SetDate(&hrtc, &sDate, RTC_FORMAT_BCD) != HAL_OK)
  {
    _Error_Handler(__FILE__, __LINE__);
  }

}

/* SPI1 init function */
static void MX_SPI1_Init(void)
{

  /* SPI1 parameter configuration*/
  hspi1.Instance = SPI1;
  hspi1.Init.Mode = SPI_MODE_SLAVE;
  hspi1.Init.Direction = SPI_DIRECTION_2LINES;
  hspi1.Init.DataSize = SPI_DATASIZE_16BIT;
  hspi1.Init.CLKPolarity = SPI_POLARITY_LOW;
  hspi1.Init.CLKPhase = SPI_PHASE_1EDGE;
  hspi1.Init.NSS = SPI_NSS_HARD_INPUT;
  hspi1.Init.FirstBit = SPI_FIRSTBIT_MSB;
  hspi1.Init.TIMode = SPI_TIMODE_DISABLE;
  hspi1.Init.CRCCalculation = SPI_CRCCALCULATION_DISABLE;
  hspi1.Init.CRCPolynomial = 7;
  hspi1.Init.NSSPMode = SPI_NSS_PULSE_DISABLE;
  hspi1.Init.NSSPolarity = SPI_NSS_POLARITY_LOW;
  hspi1.Init.FifoThreshold = SPI_FIFO_THRESHOLD_01DATA;
  hspi1.Init.TxCRCInitializationPattern = SPI_CRC_INITIALIZATION_ALL_ZERO_PATTERN;
  hspi1.Init.RxCRCInitializationPattern = SPI_CRC_INITIALIZATION_ALL_ZERO_PATTERN;
  hspi1.Init.MasterSSIdleness = SPI_MASTER_SS_IDLENESS_00CYCLE;
  hspi1.Init.MasterInterDataIdleness = SPI_MASTER_INTERDATA_IDLENESS_00CYCLE;
  hspi1.Init.MasterReceiverAutoSusp = SPI_MASTER_RX_AUTOSUSP_DISABLE;
  hspi1.Init.MasterKeepIOState = SPI_MASTER_KEEP_IO_STATE_DISABLE;
  hspi1.Init.IOSwap = SPI_IO_SWAP_DISABLE;
  if (HAL_SPI_Init(&hspi1) != HAL_OK)
  {
    _Error_Handler(__FILE__, __LINE__);
  }

}

/* TIM1 init function */
static void MX_TIM1_Init(void)
{

  TIM_MasterConfigTypeDef sMasterConfig;
  TIM_OC_InitTypeDef sConfigOC;
  TIM_BreakDeadTimeConfigTypeDef sBreakDeadTimeConfig;

  htim1.Instance = TIM1;
  htim1.Init.Prescaler = 0;
  htim1.Init.CounterMode = TIM_COUNTERMODE_UP;
  htim1.Init.Period = 0;
  htim1.Init.ClockDivision = TIM_CLOCKDIVISION_DIV1;
  htim1.Init.RepetitionCounter = 0;
  htim1.Init.AutoReloadPreload = TIM_AUTORELOAD_PRELOAD_DISABLE;
  if (HAL_TIM_PWM_Init(&htim1) != HAL_OK)
  {
    _Error_Handler(__FILE__, __LINE__);
  }

  sMasterConfig.MasterOutputTrigger = TIM_TRGO_RESET;
  sMasterConfig.MasterOutputTrigger2 = TIM_TRGO2_RESET;
  sMasterConfig.MasterSlaveMode = TIM_MASTERSLAVEMODE_DISABLE;
  if (HAL_TIMEx_MasterConfigSynchronization(&htim1, &sMasterConfig) != HAL_OK)
  {
    _Error_Handler(__FILE__, __LINE__);
  }

  sConfigOC.OCMode = TIM_OCMODE_PWM1;
  sConfigOC.Pulse = 0;
  sConfigOC.OCPolarity = TIM_OCPOLARITY_HIGH;
  sConfigOC.OCNPolarity = TIM_OCNPOLARITY_HIGH;
  sConfigOC.OCFastMode = TIM_OCFAST_DISABLE;
  sConfigOC.OCIdleState = TIM_OCIDLESTATE_RESET;
  sConfigOC.OCNIdleState = TIM_OCNIDLESTATE_RESET;
  if (HAL_TIM_PWM_ConfigChannel(&htim1, &sConfigOC, TIM_CHANNEL_3) != HAL_OK)
  {
    _Error_Handler(__FILE__, __LINE__);
  }

  sBreakDeadTimeConfig.OffStateRunMode = TIM_OSSR_DISABLE;
  sBreakDeadTimeConfig.OffStateIDLEMode = TIM_OSSI_DISABLE;
  sBreakDeadTimeConfig.LockLevel = TIM_LOCKLEVEL_OFF;
  sBreakDeadTimeConfig.DeadTime = 3;
  sBreakDeadTimeConfig.BreakState = TIM_BREAK_DISABLE;
  sBreakDeadTimeConfig.BreakPolarity = TIM_BREAKPOLARITY_HIGH;
  sBreakDeadTimeConfig.BreakFilter = 0;
  sBreakDeadTimeConfig.Break2State = TIM_BREAK2_DISABLE;
  sBreakDeadTimeConfig.Break2Polarity = TIM_BREAK2POLARITY_HIGH;
  sBreakDeadTimeConfig.Break2Filter = 0;
  sBreakDeadTimeConfig.AutomaticOutput = TIM_AUTOMATICOUTPUT_ENABLE;
  if (HAL_TIMEx_ConfigBreakDeadTime(&htim1, &sBreakDeadTimeConfig) != HAL_OK)
  {
    _Error_Handler(__FILE__, __LINE__);
  }

  HAL_TIM_MspPostInit(&htim1);

}

/* UART4 init function */
static void MX_UART4_Init(void)
{

  huart4.Instance = UART4;
  huart4.Init.BaudRate = 1000000;
  huart4.Init.WordLength = UART_WORDLENGTH_8B;
  huart4.Init.StopBits = UART_STOPBITS_1;
  huart4.Init.Parity = UART_PARITY_NONE;
  huart4.Init.Mode = UART_MODE_TX_RX;
  huart4.Init.HwFlowCtl = UART_HWCONTROL_NONE;
  huart4.Init.OverSampling = UART_OVERSAMPLING_16;
  huart4.Init.OneBitSampling = UART_ONE_BIT_SAMPLE_DISABLE;
  huart4.Init.Prescaler = UART_PRESCALER_DIV1;
  huart4.Init.FIFOMode = UART_FIFOMODE_ENABLE;
  huart4.Init.TXFIFOThreshold = UART_TXFIFO_THRESHOLD_1_8;
  huart4.Init.RXFIFOThreshold = UART_RXFIFO_THRESHOLD_1_8;
  huart4.AdvancedInit.AdvFeatureInit = UART_ADVFEATURE_SWAP_INIT;
  huart4.AdvancedInit.Swap = UART_ADVFEATURE_SWAP_ENABLE;
  if (HAL_UART_Init(&huart4) != HAL_OK)
  {
    _Error_Handler(__FILE__, __LINE__);
  }

}

static void MX_DMA_Init(void)
{
  /* DMA controller clock enable */
  __HAL_RCC_DMA1_CLK_ENABLE();
  __HAL_RCC_DMA2_CLK_ENABLE();

  /* DMA interrupt init */
  /* DMA1_Stream0_IRQn interrupt configuration */
  HAL_NVIC_SetPriority(DMA1_Stream0_IRQn, 0, 0);
  HAL_NVIC_EnableIRQ(DMA1_Stream0_IRQn);
  /* DMA1_Stream2_IRQn interrupt configuration */
  HAL_NVIC_SetPriority(DMA1_Stream2_IRQn, 0, 0);
  HAL_NVIC_EnableIRQ(DMA1_Stream2_IRQn);
  /* DMA1_Stream3_IRQn interrupt configuration */
  HAL_NVIC_SetPriority(DMA1_Stream3_IRQn, 0, 0);
  HAL_NVIC_EnableIRQ(DMA1_Stream3_IRQn);
  /* DMA1_Stream4_IRQn interrupt configuration */
  HAL_NVIC_SetPriority(DMA1_Stream4_IRQn, 0, 0);
  HAL_NVIC_EnableIRQ(DMA1_Stream4_IRQn);
  /* DMA1_Stream5_IRQn interrupt configuration */
  HAL_NVIC_SetPriority(DMA1_Stream5_IRQn, 0, 0);
  HAL_NVIC_EnableIRQ(DMA1_Stream5_IRQn);
  /* DMA1_Stream6_IRQn interrupt configuration */
  HAL_NVIC_SetPriority(DMA1_Stream6_IRQn, 0, 0);
  HAL_NVIC_EnableIRQ(DMA1_Stream6_IRQn);
  /* DMA1_Stream7_IRQn interrupt configuration */
  HAL_NVIC_SetPriority(DMA1_Stream7_IRQn, 2, 0);
  HAL_NVIC_EnableIRQ(DMA1_Stream7_IRQn);
  /* DMA2_Stream0_IRQn interrupt configuration */
  HAL_NVIC_SetPriority(DMA2_Stream0_IRQn, 1, 0);
  HAL_NVIC_EnableIRQ(DMA2_Stream0_IRQn);
  /* DMA2_Stream1_IRQn interrupt configuration */
  HAL_NVIC_SetPriority(DMA2_Stream1_IRQn, 1, 0);
  HAL_NVIC_EnableIRQ(DMA2_Stream1_IRQn);

}

/** Configure pins as
        * Analog
        * Input
        * Output
        * EVENT_OUT
        * EXTI
*/
static void MX_GPIO_Init(void)
{

  GPIO_InitTypeDef GPIO_InitStruct;

  /* GPIO Ports Clock Enable */
  __HAL_RCC_GPIOC_CLK_ENABLE();
  __HAL_RCC_GPIOF_CLK_ENABLE();
  __HAL_RCC_GPIOH_CLK_ENABLE();
  __HAL_RCC_GPIOA_CLK_ENABLE();
  __HAL_RCC_GPIOE_CLK_ENABLE();
  __HAL_RCC_GPIOB_CLK_ENABLE();
  __HAL_RCC_GPIOD_CLK_ENABLE();
  __HAL_RCC_GPIOG_CLK_ENABLE();

  /*Configure GPIO pin Output Level */
  HAL_GPIO_WritePin(GPIOE, GPIO_PIN_13, GPIO_PIN_RESET);

  /*Configure GPIO pin Output Level */
  HAL_GPIO_WritePin(GPIOB, LD3_RED_Pin|LD2_Blue_Pin, GPIO_PIN_RESET);

  /*Configure GPIO pin Output Level */
  HAL_GPIO_WritePin(V_invensense_GPIO_Port, V_invensense_Pin, GPIO_PIN_RESET);

  /*Configure GPIO pin : User_Btn_Pin */
  GPIO_InitStruct.Pin = User_Btn_Pin;
  GPIO_InitStruct.Mode = GPIO_MODE_IT_RISING;
  GPIO_InitStruct.Pull = GPIO_NOPULL;
  HAL_GPIO_Init(User_Btn_GPIO_Port, &GPIO_InitStruct);

  /*Configure GPIO pin : Invensense_IRQ_Pin */
  GPIO_InitStruct.Pin = Invensense_IRQ_Pin;
  GPIO_InitStruct.Mode = GPIO_MODE_IT_RISING;
  GPIO_InitStruct.Pull = GPIO_NOPULL;
  HAL_GPIO_Init(Invensense_IRQ_GPIO_Port, &GPIO_InitStruct);

  /*Configure GPIO pin : PA0 */
  GPIO_InitStruct.Pin = GPIO_PIN_0;
  GPIO_InitStruct.Mode = GPIO_MODE_IT_RISING_FALLING;
  GPIO_InitStruct.Pull = GPIO_PULLDOWN;
  HAL_GPIO_Init(GPIOA, &GPIO_InitStruct);

  /*Configure GPIO pin : PE13 */
  GPIO_InitStruct.Pin = GPIO_PIN_13;
  GPIO_InitStruct.Mode = GPIO_MODE_OUTPUT_PP;
  GPIO_InitStruct.Pull = GPIO_NOPULL;
  GPIO_InitStruct.Speed = GPIO_SPEED_FREQ_LOW;
  HAL_GPIO_Init(GPIOE, &GPIO_InitStruct);

  /*Configure GPIO pins : LD3_RED_Pin LD2_Blue_Pin */
  GPIO_InitStruct.Pin = LD3_RED_Pin|LD2_Blue_Pin;
  GPIO_InitStruct.Mode = GPIO_MODE_OUTPUT_PP;
  GPIO_InitStruct.Pull = GPIO_NOPULL;
  GPIO_InitStruct.Speed = GPIO_SPEED_FREQ_VERY_HIGH;
  HAL_GPIO_Init(GPIOB, &GPIO_InitStruct);

  /*Configure GPIO pin : V_invensense_Pin */
  GPIO_InitStruct.Pin = V_invensense_Pin;
  GPIO_InitStruct.Mode = GPIO_MODE_OUTPUT_PP;
  GPIO_InitStruct.Pull = GPIO_NOPULL;
  GPIO_InitStruct.Speed = GPIO_SPEED_FREQ_LOW;
  HAL_GPIO_Init(V_invensense_GPIO_Port, &GPIO_InitStruct);

  /* EXTI interrupt init*/
  HAL_NVIC_SetPriority(EXTI0_IRQn, 0, 0);
  HAL_NVIC_EnableIRQ(EXTI0_IRQn);

}

/* MPU Configuration */

void MPU_Config(void)
{
  MPU_Region_InitTypeDef MPU_InitStruct;

  /* Disables the MPU */
  HAL_MPU_Disable();
    /**Initializes and configures the Region and the memory to be protected
    */
  MPU_InitStruct.Enable = MPU_REGION_ENABLE;
  MPU_InitStruct.Number = MPU_REGION_NUMBER0;
  MPU_InitStruct.BaseAddress = 0x30040000;
  MPU_InitStruct.Size = MPU_REGION_SIZE_256B;
  MPU_InitStruct.SubRegionDisable = 0x0;
  MPU_InitStruct.TypeExtField = MPU_TEX_LEVEL0;
  MPU_InitStruct.AccessPermission = MPU_REGION_FULL_ACCESS;
  MPU_InitStruct.DisableExec = MPU_INSTRUCTION_ACCESS_ENABLE;
  MPU_InitStruct.IsShareable = MPU_ACCESS_SHAREABLE;
  MPU_InitStruct.IsCacheable = MPU_ACCESS_NOT_CACHEABLE;
  MPU_InitStruct.IsBufferable = MPU_ACCESS_BUFFERABLE;

  HAL_MPU_ConfigRegion(&MPU_InitStruct);

    /**Initializes and configures the Region and the memory to be protected
    */
  MPU_InitStruct.Enable = MPU_REGION_ENABLE;
  MPU_InitStruct.Number = MPU_REGION_NUMBER1;
  MPU_InitStruct.BaseAddress = 0x30060000;
  MPU_InitStruct.Size = MPU_REGION_SIZE_128KB;
  MPU_InitStruct.SubRegionDisable = 0x0;
  MPU_InitStruct.TypeExtField = MPU_TEX_LEVEL0;
  MPU_InitStruct.AccessPermission = MPU_REGION_FULL_ACCESS;
  MPU_InitStruct.DisableExec = MPU_INSTRUCTION_ACCESS_ENABLE;
  MPU_InitStruct.IsShareable = MPU_ACCESS_SHAREABLE;
  MPU_InitStruct.IsCacheable = MPU_ACCESS_NOT_CACHEABLE;
  MPU_InitStruct.IsBufferable = MPU_ACCESS_BUFFERABLE;

  HAL_MPU_ConfigRegion(&MPU_InitStruct);

  /* Enables the MPU */
  HAL_MPU_Enable(MPU_PRIVILEGED_DEFAULT);

}
void HAL_TIM_PeriodElapsedCallback(TIM_HandleTypeDef *htim)
{
  if (htim->Instance == TIM8) {
    HAL_IncTick();
  }
}

void _Error_Handler(char *file, int line)
{
  while(1)
  {
  }
}

/************************ (C) COPYRIGHT STMicroelectronics *****END OF FILE****/
